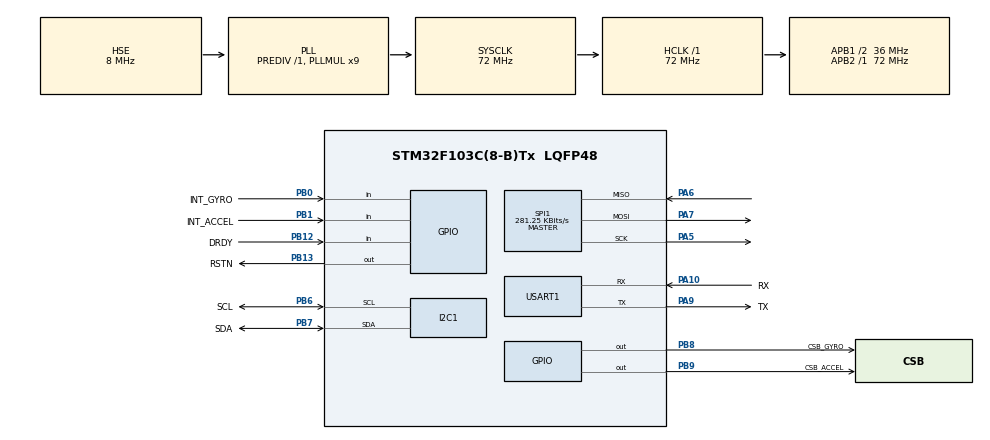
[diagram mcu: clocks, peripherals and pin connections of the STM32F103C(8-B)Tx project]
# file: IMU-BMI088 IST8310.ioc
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Dma.I2C1_RX.2.Direction=DMA_PERIPH_TO_MEMORY
Dma.I2C1_RX.2.Instance=DMA1_Channel7
Dma.I2C1_RX.2.MemDataAlignment=DMA_MDATAALIGN_BYTE
Dma.I2C1_RX.2.MemInc=DMA_MINC_ENABLE
Dma.I2C1_RX.2.Mode=DMA_NORMAL
Dma.I2C1_RX.2.PeriphDataAlignment=DMA_PDATAALIGN_BYTE
Dma.I2C1_RX.2.PeriphInc=DMA_PINC_DISABLE
Dma.I2C1_RX.2.Priority=DMA_PRIORITY_LOW
Dma.I2C1_TX.3.Direction=DMA_MEMORY_TO_PERIPH
Dma.I2C1_TX.3.Instance=DMA1_Channel6
Dma.I2C1_TX.3.MemDataAlignment=DMA_MDATAALIGN_BYTE
Dma.I2C1_TX.3.MemInc=DMA_MINC_ENABLE
Dma.I2C1_TX.3.Mode=DMA_NORMAL
Dma.I2C1_TX.3.PeriphDataAlignment=DMA_PDATAALIGN_BYTE
Dma.I2C1_TX.3.PeriphInc=DMA_PINC_DISABLE
Dma.I2C1_TX.3.Priority=DMA_PRIORITY_LOW
Dma.Request0=SPI1_RX
Dma.Request1=SPI1_TX
Dma.Request2=I2C1_RX
Dma.Request3=I2C1_TX
Dma.Request4=USART1_RX
Dma.Request5=USART1_TX
Dma.SPI1_RX.0.Direction=DMA_PERIPH_TO_MEMORY
Dma.SPI1_RX.0.Instance=DMA1_Channel2
Dma.SPI1_RX.0.MemDataAlignment=DMA_MDATAALIGN_BYTE
Dma.SPI1_RX.0.MemInc=DMA_MINC_ENABLE
Dma.SPI1_RX.0.Mode=DMA_NORMAL
Dma.SPI1_RX.0.PeriphDataAlignment=DMA_PDATAALIGN_BYTE
Dma.SPI1_RX.0.PeriphInc=DMA_PINC_DISABLE
Dma.SPI1_RX.0.Priority=DMA_PRIORITY_LOW
Dma.SPI1_TX.1.Direction=DMA_MEMORY_TO_PERIPH
Dma.SPI1_TX.1.Instance=DMA1_Channel3
Dma.SPI1_TX.1.MemDataAlignment=DMA_MDATAALIGN_BYTE
Dma.SPI1_TX.1.MemInc=DMA_MINC_ENABLE
Dma.SPI1_TX.1.Mode=DMA_NORMAL
Dma.SPI1_TX.1.PeriphDataAlignment=DMA_PDATAALIGN_BYTE
Dma.SPI1_TX.1.PeriphInc=DMA_PINC_DISABLE
Dma.SPI1_TX.1.Priority=DMA_PRIORITY_LOW
Dma.USART1_RX.4.Direction=DMA_PERIPH_TO_MEMORY
Dma.USART1_RX.4.Instance=DMA1_Channel5
Dma.USART1_RX.4.MemDataAlignment=DMA_MDATAALIGN_BYTE
Dma.USART1_RX.4.MemInc=DMA_MINC_ENABLE
Dma.USART1_RX.4.Mode=DMA_NORMAL
Dma.USART1_RX.4.PeriphDataAlignment=DMA_PDATAALIGN_BYTE
Dma.USART1_RX.4.PeriphInc=DMA_PINC_DISABLE
Dma.USART1_RX.4.Priority=DMA_PRIORITY_LOW
Dma.USART1_TX.5.Direction=DMA_MEMORY_TO_PERIPH
Dma.USART1_TX.5.Instance=DMA1_Channel4
Dma.USART1_TX.5.MemDataAlignment=DMA_MDATAALIGN_BYTE
Dma.USART1_TX.5.MemInc=DMA_MINC_ENABLE
Dma.USART1_TX.5.Mode=DMA_NORMAL
Dma.USART1_TX.5.PeriphDataAlignment=DMA_PDATAALIGN_BYTE
Dma.USART1_TX.5.PeriphInc=DMA_PINC_DISABLE
Dma.USART1_TX.5.Priority=DMA_PRIORITY_LOW
FREERTOS.Tasks01=defaultTask,0,128,StartDefaultTask,Default,NULL,Dynamic,NULL,NULL;Get_Inf,2,128,Get_inf,Default,NULL,Dynamic,NULL,NULL
Mcu.Family=STM32F1
Mcu.Name=STM32F103C(8-B)Tx
Mcu.Package=LQFP48
NVIC.DMA1_Channel2_IRQn=true\:5\:0\:false\:false\:true\:true\:false\:true
NVIC.DMA1_Channel3_IRQn=true\:5\:0\:false\:false\:true\:true\:false\:true
NVIC.DMA1_Channel4_IRQn=true\:5\:0\:false\:false\:true\:true\:false\:true
NVIC.DMA1_Channel5_IRQn=true\:5\:0\:false\:false\:true\:true\:false\:true
NVIC.DMA1_Channel6_IRQn=true\:5\:0\:false\:false\:true\:true\:false\:true
NVIC.DMA1_Channel7_IRQn=true\:5\:0\:false\:false\:true\:true\:false\:true
NVIC.PriorityGroup=NVIC_PRIORITYGROUP_4
NVIC.TIM2_IRQn=true\:5\:0\:false\:false\:true\:true\:true\:true
PA10.GPIO_Label=RX
PA10.Mode=Asynchronous
PA10.Signal=USART1_RX
PA13.Mode=Serial_Wire
PA13.Signal=SYS_JTMS-SWDIO
PA14.Mode=Serial_Wire
PA14.Signal=SYS_JTCK-SWCLK
PA5.Mode=Full_Duplex_Master
PA5.Signal=SPI1_SCK
PA6.Mode=Full_Duplex_Master
PA6.Signal=SPI1_MISO
PA7.Mode=Full_Duplex_Master
PA7.Signal=SPI1_MOSI
PA9.GPIO_Label=TX
PA9.Mode=Asynchronous
PA9.Signal=USART1_TX
PB0.GPIO_Label=INT_GYRO
PB0.GPIO_PuPd=GPIO_NOPULL
PB0.Signal=GPIO_Input
PB1.GPIO_Label=INT_ACCEL
PB1.GPIO_PuPd=GPIO_NOPULL
PB1.Signal=GPIO_Input
PB12.GPIO_Label=DRDY
PB12.Signal=GPIO_Input
PB13.GPIO_Label=RSTN
PB13.Signal=GPIO_Output
PB6.GPIO_Label=SCL
PB6.Mode=I2C
PB6.Signal=I2C1_SCL
PB7.GPIO_Label=SDA
PB7.Mode=I2C
PB7.Signal=I2C1_SDA
PB8.GPIO_Label=CSB_GYRO
PB8.GPIO_PuPd=GPIO_PULLUP
PB8.Signal=GPIO_Output
PB9.GPIO_Label=CSB_ACCEL
PB9.GPIO_PuPd=GPIO_PULLUP
PB9.Signal=GPIO_Output
PD0-OSC_IN.Mode=HSE-External-Oscillator
PD0-OSC_IN.Signal=RCC_OSC_IN
PD1-OSC_OUT.Mode=HSE-External-Oscillator
PD1-OSC_OUT.Signal=RCC_OSC_OUT
ProjectManager.HeapSize=0x200
ProjectManager.StackSize=0x400
ProjectManager.TargetToolchain=MDK-ARM V5
RCC.AHBFreq_Value=72000000
RCC.APB1CLKDivider=RCC_HCLK_DIV2
RCC.APB1Freq_Value=36000000
RCC.APB1TimFreq_Value=72000000
RCC.APB2Freq_Value=72000000
RCC.APB2TimFreq_Value=72000000
RCC.HCLKFreq_Value=72000000
RCC.PLLMUL=RCC_PLL_MUL9
RCC.PLLSourceVirtual=RCC_PLLSOURCE_HSE
RCC.SYSCLKFreq_VALUE=72000000
RCC.SYSCLKSource=RCC_SYSCLKSOURCE_PLLCLK
RCC.USBFreq_Value=72000000
SPI1.BaudRatePrescaler=SPI_BAUDRATEPRESCALER_256
SPI1.CLKPhase=SPI_PHASE_2EDGE
SPI1.CLKPolarity=SPI_POLARITY_HIGH
SPI1.CalculateBaudRate=281.25 KBits/s
SPI1.Direction=SPI_DIRECTION_2LINES
SPI1.Mode=SPI_MODE_MASTER
SPI1.VirtualType=VM_MASTER
TIM2.Period=9999
TIM2.Prescaler=7199
USART1.VirtualMode=VM_ASYNC
VP_FREERTOS_VS_CMSIS_V1.Mode=CMSIS_V1
VP_TIM2_VS_ClockSourceINT.Mode=Internal
board=custom

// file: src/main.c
/* USER CODE BEGIN Header */
/**
  ******************************************************************************
  * @file           : main.c
  * @brief          : Main program body
  ******************************************************************************
  * @attention
  *
  * <h2><center>&copy; Copyright (c) 2020 STMicroelectronics.
  * All rights reserved.</center></h2>
  *
  * This software component is licensed by ST under Ultimate Liberty license
  * SLA0044, the "License"; You may not use this file except in compliance with
  * the License. You may obtain a copy of the License at:
  *                             www.st.com/SLA0044
  *
  ******************************************************************************
  */
/* USER CODE END Header */

#include "main.h"
#include "cmsis_os.h"
#include "dma.h"
#include "i2c.h"
#include "spi.h"
#include "tim.h"
#include "usart.h"
#include "gpio.h"

/* USER CODE BEGIN PV */
uint8_t rxbuf;
/* USER CODE END PV */

void SystemClock_Config(void);
void MX_FREERTOS_Init(void);

/* USER CODE BEGIN 0 */
extern UART_HandleTypeDef huart1;
/* USER CODE END 0 */

int main(void)
{

  /* MCU Configuration--------------------------------------------------------*/

  /* Reset of all peripherals, Initializes the Flash interface and the Systick. */
  HAL_Init();

  /* Configure the system clock */
  SystemClock_Config();

  /* Initialize all configured peripherals */
  MX_GPIO_Init();
  MX_DMA_Init();
  MX_I2C1_Init();
  MX_SPI1_Init();
  MX_TIM2_Init();
  MX_USART1_UART_Init();
  /* USER CODE BEGIN 2 */
  HAL_UART_Receive_DMA(&huart1, &rxbuf, 4);
  /* USER CODE END 2 */

  /* Call init function for freertos objects (in freertos.c) */
  MX_FREERTOS_Init();

  /* Start scheduler */
  osKernelStart();

  /* We should never get here as control is now taken by the scheduler */

  /* Infinite loop */
  /* USER CODE BEGIN WHILE */
  while (1)
  {

/*数据处理*/

    /* USER CODE END WHILE */

  }
}

void SystemClock_Config(void)
{
  RCC_OscInitTypeDef RCC_OscInitStruct = {0};
  RCC_ClkInitTypeDef RCC_ClkInitStruct = {0};

  /** Initializes the CPU, AHB and APB busses clocks
  */
  RCC_OscInitStruct.OscillatorType = RCC_OSCILLATORTYPE_HSE;
  RCC_OscInitStruct.HSEState = RCC_HSE_ON;
  RCC_OscInitStruct.HSEPredivValue = RCC_HSE_PREDIV_DIV1;
  RCC_OscInitStruct.HSIState = RCC_HSI_ON;
  RCC_OscInitStruct.PLL.PLLState = RCC_PLL_ON;
  RCC_OscInitStruct.PLL.PLLSource = RCC_PLLSOURCE_HSE;
  RCC_OscInitStruct.PLL.PLLMUL = RCC_PLL_MUL9;
  if (HAL_RCC_OscConfig(&RCC_OscInitStruct) != HAL_OK)
  {
    Error_Handler();
  }
  /** Initializes the CPU, AHB and APB busses clocks
  */
  RCC_ClkInitStruct.ClockType = RCC_CLOCKTYPE_HCLK|RCC_CLOCKTYPE_SYSCLK
                              |RCC_CLOCKTYPE_PCLK1|RCC_CLOCKTYPE_PCLK2;
  RCC_ClkInitStruct.SYSCLKSource = RCC_SYSCLKSOURCE_PLLCLK;
  RCC_ClkInitStruct.AHBCLKDivider = RCC_SYSCLK_DIV1;
  RCC_ClkInitStruct.APB1CLKDivider = RCC_HCLK_DIV2;
  RCC_ClkInitStruct.APB2CLKDivider = RCC_HCLK_DIV1;

  if (HAL_RCC_ClockConfig(&RCC_ClkInitStruct, FLASH_LATENCY_2) != HAL_OK)
  {
    Error_Handler();
  }
}

void Error_Handler(void)
{
}

/************************ (C) COPYRIGHT STMicroelectronics *****END OF FILE****/

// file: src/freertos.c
/* USER CODE BEGIN Header */
/**
  ******************************************************************************
  * File Name          : freertos.c
  * Description        : Code for freertos applications
  ******************************************************************************
  * @attention
  *
  * <h2><center>&copy; Copyright (c) 2020 STMicroelectronics.
  * All rights reserved.</center></h2>
  *
  * This software component is licensed by ST under Ultimate Liberty license
  * SLA0044, the "License"; You may not use this file except in compliance with
  * the License. You may obtain a copy of the License at:
  *                             www.st.com/SLA0044
  *
  ******************************************************************************
  */
/* USER CODE END Header */

#include "FreeRTOS.h"
#include "task.h"
#include "main.h"
#include "cmsis_os.h"
#include "jiesuan.h"

/* USER CODE BEGIN PD */

static float ValueX;
static float ValueY;
static float ValueZ;
static float ValueXGyro;
static float ValueYGyro;
static float ValueZGyro;
static float ValueXAccel;
static float ValueYAccel;
static float ValueZAccel;
static float temp;

extern I2C_HandleTypeDef hi2c1;
extern SPI_HandleTypeDef hspi1;
extern UART_HandleTypeDef huart1;
uint16_t IST8310_Add= 0x0E;
uint8_t ist8310=0x0E;
uint8_t valuex_l=0x03;
uint8_t valuex_h=0x04;
uint8_t valuey_l=0x05;
uint8_t valuey_h=0x06;
uint8_t valuez_l=0x07;
uint8_t valuez_h=0x08;

uint8_t ACC_CHIP_ID=0X00;
uint8_t GYRO_CHIP_ID=0X00;
uint8_t ACC_X_LSB=0X12;
uint8_t ACC_X_MSB=0X13;
uint8_t ACC_Y_LSB=0X14;
uint8_t ACC_Y_MSB=0X15;
uint8_t ACC_Z_LSB=0X16;
uint8_t ACC_Z_MSB=0X17;
uint8_t RATE_X_LSB=0X02;
uint8_t RATE_X_MSB=0X03;
uint8_t RATE_Y_LSB=0X04;
uint8_t RATE_Y_MSB=0X05;
uint8_t RATE_Z_LSB=0X06;
uint8_t RATE_Z_MSB=0X07;
uint8_t TEMP_LSB=0X23;
uint8_t TEMP_MSB=0X22;
uint8_t ACC_SOFTRESET=0X7E;
uint8_t GYRO_SOFTRESET=0X14;
uint8_t Accelerometer_on=0x04;
uint8_t ACC_PWR_CTRL=0x7D;
uint8_t ACC_PWR_CONF=0x7C;
uint8_t Active_mode=0x00;
uint8_t GYRO_LPM1=0x11;
uint8_t normal=0x00;
uint8_t ACC_RANGE=0x41;
uint8_t GYRO_RANGE=0x0F;
uint8_t STAT1=0x02;

/* USER CODE END PD */

osThreadId defaultTaskHandle;
osThreadId Get_InfHandle;

void StartDefaultTask(void const * argument);
void Get_inf(void const * argument);

void MX_FREERTOS_Init(void); /* (MISRA C 2004 rule 8.1) */

void MX_FREERTOS_Init(void) {

  /* Create the thread(s) */
  /* definition and creation of defaultTask */
  osThreadDef(defaultTask, StartDefaultTask, osPriorityNormal, 0, 128);
  defaultTaskHandle = osThreadCreate(osThread(defaultTask), NULL);

  /* definition and creation of Get_Inf */
  osThreadDef(Get_Inf, Get_inf, osPriorityHigh, 0, 128);
  Get_InfHandle = osThreadCreate(osThread(Get_Inf), NULL);

}

void StartDefaultTask(void const * argument)
{

  for(;;)
  {
    osDelay(1);
  }
}

void Get_inf(void const * argument)
{
  /* USER CODE BEGIN Get_inf */
  /* Infinite loop */
  for(;;)
  {
    osDelay(5);
		IST8310_get();
		BMI088_get();
		accel_jiesuan_fai(ax,ay,az,mx,my,mz);
		update(ax,ay,az,gx,gy,gz,mx,my,mz);

  }
  /* USER CODE END Get_inf */
}

/* USER CODE BEGIN Application */
     void IST8310_get(void)
		 {
			 uint8_t Buffer[6];
			 uint8_t stat1;

			 HAL_I2C_Master_Transmit_DMA( &hi2c1, IST8310_Add, &ist8310, 8);
			 HAL_I2C_Master_Transmit_DMA( &hi2c1, IST8310_Add, &STAT1, 8);
			 HAL_I2C_Master_Transmit_DMA( &hi2c1, IST8310_Add, &ist8310, 8);
			 HAL_I2C_Master_Receive_DMA( &hi2c1, IST8310_Add, &stat1, 8);

			 if(stat1%2==1)
			 {
			 HAL_I2C_Master_Transmit_DMA( &hi2c1, IST8310_Add, &ist8310, 8);
			 HAL_I2C_Master_Transmit_DMA( &hi2c1, IST8310_Add, &valuex_l, 8);
			 HAL_I2C_Master_Transmit_DMA( &hi2c1, IST8310_Add, &ist8310, 8);
			 HAL_I2C_Master_Receive_DMA( &hi2c1, IST8310_Add, &Buffer[0], 8);

			 HAL_I2C_Master_Transmit_DMA( &hi2c1, IST8310_Add, &ist8310, 8);
			 HAL_I2C_Master_Transmit_DMA( &hi2c1, IST8310_Add, &valuex_h, 8);
			 HAL_I2C_Master_Transmit_DMA( &hi2c1, IST8310_Add, &ist8310, 8);
			 HAL_I2C_Master_Receive_DMA( &hi2c1, IST8310_Add, &Buffer[1], 8);

			 HAL_I2C_Master_Transmit_DMA( &hi2c1, IST8310_Add, &ist8310, 8);
			 HAL_I2C_Master_Transmit_DMA( &hi2c1, IST8310_Add, &valuey_l, 8);
			 HAL_I2C_Master_Transmit_DMA( &hi2c1, IST8310_Add, &ist8310, 8);
			 HAL_I2C_Master_Receive_DMA( &hi2c1, IST8310_Add, &Buffer[2], 8);

			 HAL_I2C_Master_Transmit_DMA( &hi2c1, IST8310_Add, &ist8310, 8);
			 HAL_I2C_Master_Transmit_DMA( &hi2c1, IST8310_Add, &valuey_h, 8);
			 HAL_I2C_Master_Transmit_DMA( &hi2c1, IST8310_Add, &ist8310, 8);
			 HAL_I2C_Master_Receive_DMA( &hi2c1, IST8310_Add, &Buffer[3], 8);

			 HAL_I2C_Master_Transmit_DMA( &hi2c1, IST8310_Add, &ist8310, 8);
			 HAL_I2C_Master_Transmit_DMA( &hi2c1, IST8310_Add, &valuez_l, 8);
			 HAL_I2C_Master_Transmit_DMA( &hi2c1, IST8310_Add, &ist8310, 8);
			 HAL_I2C_Master_Receive_DMA( &hi2c1, IST8310_Add, &Buffer[4], 8);

			 HAL_I2C_Master_Transmit_DMA( &hi2c1, IST8310_Add, &ist8310, 8);
			 HAL_I2C_Master_Transmit_DMA( &hi2c1, IST8310_Add, &valuez_h, 8);
			 HAL_I2C_Master_Transmit_DMA( &hi2c1, IST8310_Add, &ist8310, 8);
			 HAL_I2C_Master_Receive_DMA( &hi2c1, IST8310_Add, &Buffer[5], 8);

			 ValueX=(((uint16_t)(Buffer[0]))|((uint16_t)(Buffer[1])<<8))/32768*1600;
			 ValueY=(((uint16_t)(Buffer[2]))|((uint16_t)(Buffer[3])<<8))/32768*1600;
			 ValueZ=(((uint16_t)(Buffer[4]))|((uint16_t)(Buffer[5])<<8))/32768*2500;
		   }
		 }

		 void BMI088_get(void)
		 {
			 uint8_t addr;
			 uint8_t Rxdate;
			 uint8_t Dat[14];
			 uint8_t Acc_range;
			 uint8_t Gyro_range;
			 uint16_t Temp_uint11;
			 HAL_GPIO_WritePin(CSB_GYRO_GPIO_Port, CSB_GYRO_Pin, GPIO_PIN_RESET);
			 osDelay(1);
			 HAL_SPI_TransmitReceive_DMA(&hspi1, &GYRO_CHIP_ID, &Rxdate, 0xFFFF);
			 if(Rxdate==0x0F)
			 {
				 HAL_SPI_Transmit_DMA(&hspi1, &GYRO_LPM1, 0xFFFF);
				 HAL_SPI_Transmit_DMA(&hspi1, &normal, 0xFFFF);
				 HAL_SPI_TransmitReceive_DMA(&hspi1, &GYRO_RANGE, &Gyro_range, 8);
				 HAL_SPI_TransmitReceive_DMA(&hspi1, &RATE_X_LSB, &Dat[0], 8);
				 HAL_SPI_TransmitReceive_DMA(&hspi1, &RATE_X_MSB, &Dat[1], 8);
				 HAL_SPI_TransmitReceive_DMA(&hspi1, &RATE_Y_LSB, &Dat[2], 8);
				 HAL_SPI_TransmitReceive_DMA(&hspi1, &RATE_Y_MSB, &Dat[3], 8);
				 HAL_SPI_TransmitReceive_DMA(&hspi1, &RATE_Z_LSB, &Dat[4], 8);
				 HAL_SPI_TransmitReceive_DMA(&hspi1, &RATE_Z_MSB, &Dat[5], 8);
				 osDelay(1);

				 ValueXGyro=(((uint16_t)(Dat[0]))|((uint16_t)(Dat[1])<<8))/32767*2000/2^(Gyro_range);
				 ValueYGyro=(((uint16_t)(Dat[2]))|((uint16_t)(Dat[3])<<8))/32767*2000/2^(Gyro_range);
				 ValueZGyro=(((uint16_t)(Dat[4]))|((uint16_t)(Dat[5])<<8))/32767*2000/2^(Gyro_range);
			 }
			 HAL_GPIO_WritePin(CSB_GYRO_GPIO_Port, CSB_GYRO_Pin, GPIO_PIN_SET);

			 HAL_GPIO_WritePin(CSB_ACCEL_GPIO_Port, CSB_ACCEL_Pin, GPIO_PIN_RESET);
			 osDelay(1);
			 HAL_SPI_TransmitReceive_DMA(&hspi1, &ACC_CHIP_ID, &Rxdate, 0xFFFF);
			 if(Rxdate==0X1E)
			 {
         HAL_SPI_Transmit_DMA(&hspi1, &ACC_PWR_CTRL, 8);
				 HAL_SPI_Transmit_DMA(&hspi1, &Accelerometer_on, 8);
				 HAL_SPI_Transmit_DMA(&hspi1, &ACC_PWR_CONF, 8);
				 HAL_SPI_Transmit_DMA(&hspi1, &Active_mode, 8);
				 HAL_SPI_TransmitReceive_DMA(&hspi1, &ACC_RANGE, &Acc_range, 8);
				 HAL_SPI_TransmitReceive_DMA(&hspi1, &ACC_X_LSB, &Dat[6], 8);
				 HAL_SPI_TransmitReceive_DMA(&hspi1, &ACC_X_MSB, &Dat[7], 8);
				 HAL_SPI_TransmitReceive_DMA(&hspi1, &ACC_Y_LSB, &Dat[8], 8);
				 HAL_SPI_TransmitReceive_DMA(&hspi1, &ACC_Y_MSB, &Dat[9], 8);
				 HAL_SPI_TransmitReceive_DMA(&hspi1, &ACC_Z_LSB, &Dat[10], 8);
				 HAL_SPI_TransmitReceive_DMA(&hspi1, &ACC_Z_MSB, &Dat[11], 8);
				 HAL_SPI_TransmitReceive_DMA(&hspi1, &TEMP_LSB, &Dat[12], 8);
				 HAL_SPI_TransmitReceive_DMA(&hspi1, &TEMP_MSB, &Dat[13], 8);
				 osDelay(1);

				 ValueXAccel=(((uint16_t)(Dat[6]))|((uint16_t)(Dat[7])<<8))/32768*1000*(2^(Acc_range+1))*1.5;
				 ValueYAccel=(((uint16_t)(Dat[8]))|((uint16_t)(Dat[9])<<8))/32768*1000*(2^(Acc_range+1))*1.5;
				 ValueZAccel=(((uint16_t)(Dat[10]))|((uint16_t)(Dat[11])<<8))/32768*1000*(2^(Acc_range+1))*1.5;
				 Temp_uint11 = (Dat[13] * 8) + (Dat[12] / 32);
         if (Temp_uint11 > 1023)
         Temp_uint11 = Temp_uint11 - 2048;
         else
					 Temp_uint11 = Temp_uint11;
         temp = Temp_uint11 * 0.125/Dat[12] + 23;
				 HAL_GPIO_WritePin(CSB_ACCEL_GPIO_Port, CSB_ACCEL_Pin, GPIO_PIN_SET);
			 }

		 }

/* USER CODE END Application */

/************************ (C) COPYRIGHT STMicroelectronics *****END OF FILE****/
